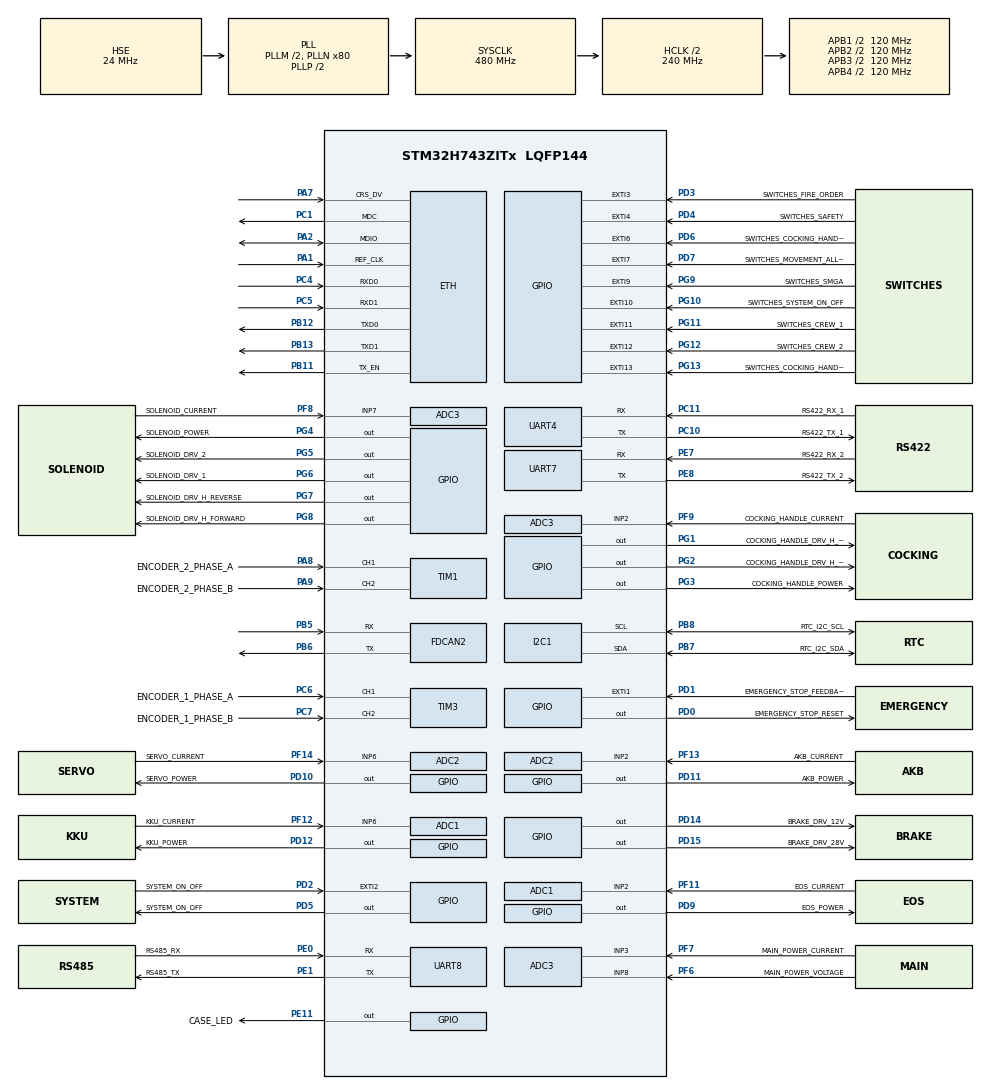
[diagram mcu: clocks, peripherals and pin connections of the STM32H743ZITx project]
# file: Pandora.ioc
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ADC1.Channel-7\#ChannelRegularConversion=ADC_CHANNEL_2
ADC1.ClockPrescaler=ADC_CLOCK_ASYNC_DIV1
ADC1.ContinuousConvMode=ENABLE
ADC1.NbrOfConversionFlag=1
ADC1.OffsetNumber-7\#ChannelRegularConversion=ADC_OFFSET_NONE
ADC1.OffsetSignedSaturation-7\#ChannelRegularConversion=DISABLE
ADC1.Rank-7\#ChannelRegularConversion=1
ADC1.SamplingTime-7\#ChannelRegularConversion=ADC_SAMPLETIME_1CYCLE_5
ADC1.master=1
ADC2.Channel-0\#ChannelRegularConversion=ADC_CHANNEL_2
ADC2.ContinuousConvMode=ENABLE
ADC2.NbrOfConversionFlag=1
ADC2.OffsetNumber-0\#ChannelRegularConversion=ADC_OFFSET_NONE
ADC2.OffsetSignedSaturation-0\#ChannelRegularConversion=DISABLE
ADC2.Rank-0\#ChannelRegularConversion=1
ADC2.SamplingTime-0\#ChannelRegularConversion=ADC_SAMPLETIME_1CYCLE_5
ADC3.Channel-1\#ChannelRegularConversion=ADC_CHANNEL_8
ADC3.ClockPrescaler=ADC_CLOCK_ASYNC_DIV1
ADC3.ContinuousConvMode=ENABLE
ADC3.NbrOfConversionFlag=1
ADC3.OffsetNumber-1\#ChannelRegularConversion=ADC_OFFSET_NONE
ADC3.OffsetSignedSaturation-1\#ChannelRegularConversion=DISABLE
ADC3.Rank-1\#ChannelRegularConversion=1
ADC3.SamplingTime-1\#ChannelRegularConversion=ADC_SAMPLETIME_1CYCLE_5
Bdma.ADC3.0.Direction=DMA_PERIPH_TO_MEMORY
Bdma.ADC3.0.EventEnable=DISABLE
Bdma.ADC3.0.Instance=BDMA_Channel0
Bdma.ADC3.0.MemDataAlignment=DMA_MDATAALIGN_HALFWORD
Bdma.ADC3.0.MemInc=DMA_MINC_ENABLE
Bdma.ADC3.0.Mode=DMA_CIRCULAR
Bdma.ADC3.0.PeriphDataAlignment=DMA_PDATAALIGN_HALFWORD
Bdma.ADC3.0.PeriphInc=DMA_PINC_DISABLE
Bdma.ADC3.0.Polarity=HAL_DMAMUX_REQ_GEN_RISING
Bdma.ADC3.0.Priority=DMA_PRIORITY_LOW
Bdma.ADC3.0.RequestNumber=1
Bdma.ADC3.0.SignalID=NONE
Bdma.ADC3.0.SyncEnable=DISABLE
Bdma.ADC3.0.SyncPolarity=HAL_DMAMUX_SYNC_NO_EVENT
Bdma.ADC3.0.SyncRequestNumber=1
Bdma.ADC3.0.SyncSignalID=NONE
Bdma.Request0=ADC3
Bdma.RequestsNb=1
Dma.ADC1.0.Direction=DMA_PERIPH_TO_MEMORY
Dma.ADC1.0.EventEnable=DISABLE
Dma.ADC1.0.FIFOMode=DMA_FIFOMODE_DISABLE
Dma.ADC1.0.Instance=DMA1_Stream0
Dma.ADC1.0.MemDataAlignment=DMA_MDATAALIGN_HALFWORD
Dma.ADC1.0.MemInc=DMA_MINC_ENABLE
Dma.ADC1.0.Mode=DMA_CIRCULAR
Dma.ADC1.0.PeriphDataAlignment=DMA_PDATAALIGN_HALFWORD
Dma.ADC1.0.PeriphInc=DMA_PINC_DISABLE
Dma.ADC1.0.Polarity=HAL_DMAMUX_REQ_GEN_RISING
Dma.ADC1.0.Priority=DMA_PRIORITY_LOW
Dma.ADC1.0.RequestNumber=1
Dma.ADC1.0.SignalID=NONE
Dma.ADC1.0.SyncEnable=DISABLE
Dma.ADC1.0.SyncPolarity=HAL_DMAMUX_SYNC_NO_EVENT
Dma.ADC1.0.SyncRequestNumber=1
Dma.ADC1.0.SyncSignalID=NONE
Dma.ADC2.1.Direction=DMA_PERIPH_TO_MEMORY
Dma.ADC2.1.EventEnable=DISABLE
Dma.ADC2.1.FIFOMode=DMA_FIFOMODE_DISABLE
Dma.ADC2.1.Instance=DMA1_Stream1
Dma.ADC2.1.MemDataAlignment=DMA_MDATAALIGN_HALFWORD
Dma.ADC2.1.MemInc=DMA_MINC_ENABLE
Dma.ADC2.1.Mode=DMA_CIRCULAR
Dma.ADC2.1.PeriphDataAlignment=DMA_PDATAALIGN_HALFWORD
Dma.ADC2.1.PeriphInc=DMA_PINC_DISABLE
Dma.ADC2.1.Polarity=HAL_DMAMUX_REQ_GEN_RISING
Dma.ADC2.1.Priority=DMA_PRIORITY_LOW
Dma.ADC2.1.RequestNumber=1
Dma.ADC2.1.SignalID=NONE
Dma.ADC2.1.SyncEnable=DISABLE
Dma.ADC2.1.SyncPolarity=HAL_DMAMUX_SYNC_NO_EVENT
Dma.ADC2.1.SyncRequestNumber=1
Dma.ADC2.1.SyncSignalID=NONE
Dma.Request0=ADC1
Dma.Request1=ADC2
ETH.MediaInterface=HAL_ETH_RMII_MODE
FDCAN2.CalculateBaudRateNominal=1499999
FDCAN2.CalculateTimeBitNominal=666
FDCAN2.CalculateTimeQuantumNominal=133.33333333333334
I2C1.Timing=0x307075B1
Mcu.Family=STM32H7
Mcu.Name=STM32H743ZITx
Mcu.Package=LQFP144
NVIC.BDMA_Channel0_IRQn=true\:0\:0\:false\:false\:true\:false\:true\:true
NVIC.DMA1_Stream0_IRQn=true\:0\:0\:false\:false\:true\:false\:true\:true
NVIC.DMA1_Stream1_IRQn=true\:0\:0\:false\:false\:true\:false\:true\:true
NVIC.PriorityGroup=NVIC_PRIORITYGROUP_4
NVIC.TIM2_IRQn=true\:0\:0\:false\:false\:true\:true\:true\:true
NVIC.TIM3_IRQn=true\:0\:0\:false\:false\:true\:true\:true\:true
NVIC.TIM4_IRQn=true\:0\:0\:false\:false\:true\:true\:true\:true
PA1.Mode=RMII
PA1.Signal=ETH_REF_CLK
PA2.Mode=RMII
PA2.Signal=ETH_MDIO
PA7.Mode=RMII
PA7.Signal=ETH_CRS_DV
PA8.GPIO_Label=ENCODER_2_PHASE_A
PA8.Signal=S_TIM1_CH1
PA9.GPIO_Label=ENCODER_2_PHASE_B
PA9.Signal=S_TIM1_CH2
PB11.Mode=RMII
PB11.Signal=ETH_TX_EN
PB12.Mode=RMII
PB12.Signal=ETH_TXD0
PB13.Mode=RMII
PB13.Signal=ETH_TXD1
PB5.Mode=FDCAN_Activate
PB5.Signal=FDCAN2_RX
PB6.Mode=FDCAN_Activate
PB6.Signal=FDCAN2_TX
PB7.GPIO_Label=RTC_I2C_SDA
PB7.Mode=I2C
PB7.Signal=I2C1_SDA
PB8.GPIO_Label=RTC_I2C_SCL
PB8.Mode=I2C
PB8.Signal=I2C1_SCL
PC1.Mode=RMII
PC1.Signal=ETH_MDC
PC10.GPIO_Label=RS422_TX_1
PC10.Mode=Asynchronous
PC10.Signal=UART4_TX
PC11.GPIO_Label=RS422_RX_1
PC11.Mode=Asynchronous
PC11.Signal=UART4_RX
PC4.Mode=RMII
PC4.Signal=ETH_RXD0
PC5.Mode=RMII
PC5.Signal=ETH_RXD1
PC6.GPIO_Label=ENCODER_1_PHASE_A
PC6.Signal=S_TIM3_CH1
PC7.GPIO_Label=ENCODER_1_PHASE_B
PC7.Signal=S_TIM3_CH2
PD0.GPIO_Label=EMERGENCY_STOP_RESET
PD0.Signal=GPIO_Output
PD1.GPIO_Label=EMERGENCY_STOP_FEEDBACK
PD1.Signal=GPXTI1
PD10.GPIO_Label=SERVO_POWER
PD10.Signal=GPIO_Output
PD11.GPIO_Label=AKB_POWER
PD11.Signal=GPIO_Output
PD12.GPIO_Label=KKU_POWER
PD12.Signal=GPIO_Output
PD14.GPIO_Label=BRAKE_DRV_12V
PD14.Signal=GPIO_Output
PD15.GPIO_Label=BRAKE_DRV_28V
PD15.Signal=GPIO_Output
PD2.GPIO_Label=SYSTEM_ON_OFF
PD2.Signal=GPXTI2
PD3.GPIO_Label=SWITCHES_FIRE_ORDER
PD3.Signal=GPXTI3
PD4.GPIO_Label=SWITCHES_SAFETY
PD4.Signal=GPXTI4
PD5.GPIO_Label=SYSTEM_ON_OFF
PD5.Signal=GPIO_Output
PD6.GPIO_Label=SWITCHES_COCKING_HANDLE_ORDER
PD6.Signal=GPXTI6
PD7.GPIO_Label=SWITCHES_MOVEMENT_ALLOWED
PD7.Signal=GPXTI7
PD9.GPIO_Label=EOS_POWER
PD9.Signal=GPIO_Output
PE0.GPIO_Label=RS485_RX
PE0.Mode=Asynchronous
PE0.Signal=UART8_RX
PE1.GPIO_Label=RS485_TX
PE1.Mode=Asynchronous
PE1.Signal=UART8_TX
PE11.GPIO_Label=CASE_LED
PE11.Signal=GPIO_Output
PE7.GPIO_Label=RS422_RX_2
PE7.Mode=Asynchronous
PE7.Signal=UART7_RX
PE8.GPIO_Label=RS422_TX_2
PE8.Mode=Asynchronous
PE8.Signal=UART7_TX
PF11.GPIO_Label=EOS_CURRENT
PF11.Mode=IN2-Single-Ended
PF11.Signal=ADC1_INP2
PF12.GPIO_Label=KKU_CURRENT
PF12.Mode=IN6-Single-Ended
PF12.Signal=ADC1_INP6
PF13.GPIO_Label=AKB_CURRENT
PF13.Mode=IN2-Single-Ended
PF13.Signal=ADC2_INP2
PF14.GPIO_Label=SERVO_CURRENT
PF14.Mode=IN6-Single-Ended
PF14.Signal=ADC2_INP6
PF6.GPIO_Label=MAIN_POWER_VOLTAGE
PF6.Mode=IN8-Single-Ended
PF6.Signal=ADC3_INP8
PF7.GPIO_Label=MAIN_POWER_CURRENT
PF7.Mode=IN3-Single-Ended
PF7.Signal=ADC3_INP3
PF8.GPIO_Label=SOLENOID_CURRENT
PF8.Mode=IN7-Single-Ended
PF8.Signal=ADC3_INP7
PF9.GPIO_Label=COCKING_HANDLE_CURRENT
PF9.Mode=IN2-Single-Ended
PF9.Signal=ADC3_INP2
PG1.GPIO_Label=COCKING_HANDLE_DRV_H_BACKWARD
PG1.Signal=GPIO_Output
PG10.GPIO_Label=SWITCHES_SYSTEM_ON_OFF
PG10.Signal=GPXTI10
PG11.GPIO_Label=SWITCHES_CREW_1
PG11.Signal=GPXTI11
PG12.GPIO_Label=SWITCHES_CREW_2
PG12.Signal=GPXTI12
PG13.GPIO_Label=SWITCHES_COCKING_HANDLE_HOME
PG13.Signal=GPXTI13
PG2.GPIO_Label=COCKING_HANDLE_DRV_H_FORWARD
PG2.Signal=GPIO_Output
PG3.GPIO_Label=COCKING_HANDLE_POWER
PG3.Signal=GPIO_Output
PG4.GPIO_Label=SOLENOID_POWER
PG4.Signal=GPIO_Output
PG5.GPIO_Label=SOLENOID_DRV_2
PG5.Signal=GPIO_Output
PG6.GPIO_Label=SOLENOID_DRV_1
PG6.Signal=GPIO_Output
PG7.GPIO_Label=SOLENOID_DRV_H_REVERSE
PG7.Signal=GPIO_Output
PG8.GPIO_Label=SOLENOID_DRV_H_FORWARD
PG8.Signal=GPIO_Output
PG9.GPIO_Label=SWITCHES_SMGA
PG9.Signal=GPXTI9
PH0-OSC_IN\ (PH0).Mode=HSE-External-Oscillator
PH0-OSC_IN\ (PH0).Signal=RCC_OSC_IN
PH1-OSC_OUT\ (PH1).Mode=HSE-External-Oscillator
PH1-OSC_OUT\ (PH1).Signal=RCC_OSC_OUT
ProjectManager.HeapSize=0x200
ProjectManager.StackSize=0x400
ProjectManager.TargetToolchain=STM32CubeIDE
RCC.ADCFreq_Value=75000000
RCC.APB1Freq_Value=120000000
RCC.APB2Freq_Value=120000000
RCC.APB3Freq_Value=120000000
RCC.APB4Freq_Value=120000000
RCC.CortexFreq_Value=480000000
RCC.D1PPRE=RCC_APB3_DIV2
RCC.D2PPRE1=RCC_APB1_DIV2
RCC.D2PPRE2=RCC_APB2_DIV2
RCC.D3PPRE=RCC_APB4_DIV2
RCC.DIVM1=2
RCC.DIVM2=2
RCC.DIVN1=80
RCC.DIVN2=12
RCC.DIVQ1=8
RCC.HCLKFreq_Value=240000000
RCC.HPRE=RCC_HCLK_DIV2
RCC.HSE_VALUE=24000000
RCC.PLL2FRACN=4096
RCC.PLL3FRACN=0
RCC.PLLFRACN=0
RCC.PLLSourceVirtual=RCC_PLLSOURCE_HSE
RCC.SYSCLKFreq_VALUE=480000000
RCC.SYSCLKSource=RCC_SYSCLKSOURCE_PLLCLK
RCC.USBFreq_Value=120000000
SH.S_TIM1_CH1.0=TIM1_CH1,Encoder_Interface
SH.S_TIM1_CH2.0=TIM1_CH2,Encoder_Interface
SH.S_TIM3_CH1.0=TIM3_CH1,Encoder_Interface
SH.S_TIM3_CH2.0=TIM3_CH2,Encoder_Interface
TIM2.Period=999
TIM2.Prescaler=239
TIM3.IC1Filter=0
TIM4.Period=999
TIM4.Prescaler=239
VP_TIM2_VS_ClockSourceINT.Mode=Internal
VP_TIM4_VS_ClockSourceINT.Mode=Internal
board=custom

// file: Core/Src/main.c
/* USER CODE BEGIN Header */
/**
  ******************************************************************************
  * @file           : main.c
  * @brief          : Main program body
  ******************************************************************************
  * @attention
  *
  * Copyright (c) 2024 STMicroelectronics.
  * All rights reserved.
  *
  * This software is licensed under terms that can be found in the LICENSE file
  * in the root directory of this software component.
  * If no LICENSE file comes with this software, it is provided AS-IS.
  *
  ******************************************************************************
  */
/* USER CODE END Header */
#include "main.h"
#include "adc.h"
#include "bdma.h"
#include "dma.h"
#include "eth.h"
#include "fdcan.h"
#include "i2c.h"
#include "tim.h"
#include "usart.h"
#include "gpio.h"

/* USER CODE BEGIN Includes */
#include "definitions.h"
#include "timing.h"
#include "peripherals.h"
#include "can_messages.h"
#include "cocking_handle_maingun.h"
#include "gun_control.h"
#include "error.h"
#include "flash.h"
#include "power_management.h"
/* USER CODE END Includes */

/* USER CODE BEGIN PTD */
pandoraStructer pandora;
/* USER CODE END PTD */

void SystemClock_Config(void);
void PeriphCommonClock_Config(void);

int main(void)
{
  /* USER CODE BEGIN 1 */
	/* #DUZENLENECEK
	 SILAH_SURELERI();
	 SON_MERMI_GRUBU_ANAHTARI_KONTROL();
	 FREN_AKIMI_KONTROL();

	 */

  /* USER CODE END 1 */

  /* MCU Configuration--------------------------------------------------------*/

  /* Reset of all peripherals, Initializes the Flash interface and the Systick. */
  HAL_Init();

  /* Configure the system clock */
  SystemClock_Config();

/* Configure the peripherals common clocks */
  PeriphCommonClock_Config();

  /* Initialize all configured peripherals */
  MX_GPIO_Init();
  MX_DMA_Init();
  MX_BDMA_Init();
  MX_TIM1_Init();
  MX_ADC2_Init();
  MX_ADC3_Init();
  MX_ETH_Init();
  MX_FDCAN2_Init();
  MX_I2C1_Init();
  MX_UART4_Init();
  MX_UART7_Init();
  MX_ADC1_Init();
  MX_UART8_Init();
  MX_TIM3_Init();
  MX_TIM2_Init();
  MX_TIM4_Init();
  /* USER CODE BEGIN 2 */
  HAL_TIM_Base_Start_IT(&htim2);
  HAL_TIM_Base_Start_IT(&htim4);

  HAL_ADC_Start_DMA(&hadc1, pandora.analogDigitalConverter.hadc1Buffer, 1);
  HAL_ADC_Start_DMA(&hadc2, pandora.analogDigitalConverter.hadc2Buffer, 1);
  HAL_ADC_Start_DMA(&hadc3, pandora.analogDigitalConverter.hadc3Buffer, 1);

  HAL_TIM_Encoder_Start(&htim3, TIM_CHANNEL_ALL);
  __HAL_TIM_SET_COUNTER(&htim3,0);
  /*
   * 	BEGIN
   */
  //functionLoadFromFlash();														//kayıtlı verileri flashtan al

  /*
   * 	SYSTEM CHECK
   */
//  pandora.error.AKBOK 		= FEEDBACK_READ(AKB_LOOP);
//  pandora.error.EOSOK 		= FEEDBACK_READ(EOS_LOOP);
//  pandora.error.GDBOK 		= FEEDBACK_READ(GDB_LOOP);
//  pandora.error.HERCULEOK 	= FEEDBACK_READ(HERCULE_LOOP);
//  pandora.error.KKUOK		= FEEDBACK_READ(KKU_LOOP);
//
//
//
//  pandora.error.isPluggedAKB 	 = (pandora.powerManagement.actualAKBOK 	|| pandora.configurations.overrideAKBOK); // takılı olmadan da çalışabilmesi için override'a bak
//  pandora.error.isPluggedEOS	 = (pandora.powerManagement.actualEOSOK 	|| pandora.configurations.overrideEOSOK);
//  pandora.error.isPluggedHERCULE = (pandora.powerManagement.actualHERCULEOK || pandora.configurations.overrideHERCULEOK);
//  pandora.error.isPluggedKKU	 = (pandora.powerManagement.actualKKUOK	    || pandora.configurations.overrideKKUOK);

  pandora.error.system 			 =!(pandora.error.AKBOK &&
										pandora.error.EOSOK &&
											pandora.error.GDBOK &&
												pandora.error.HERCULEOK &&
													pandora.error.KKUOK);

  /////////////////////////////////////////////////////////////////////////////////////////////////////////////////

  /*
   * 	SWITCHES CHECK
   */

  pandora.states.firePermission = !pandora.switches.switches_smga;

  /////////////////////////////////////////////////////////////////////////////////////////////////////////////////

  /*
   * 	SYSTEM CHECK
   */
  /////////////////////////////////////////////////////////////////////////////////////////////////////////////////

  /*
   * 	SYSTEM CHECK
   */
  /////////////////////////////////////////////////////////////////////////////////////////////////////////////////

  /*
   * 	SYSTEM CHECK
   */
  /////////////////////////////////////////////////////////////////////////////////////////////////////////////////

  /*
   * 	SYSTEM CHECK
   */
  /////////////////////////////////////////////////////////////////////////////////////////////////////////////////

  /*
   * 	SYSTEM CHECK
   */
  /////////////////////////////////////////////////////////////////////////////////////////////////////////////////
  functionGunControlInit();
  /*
   * 	END
   */
  /* USER CODE END 2 */

  /* Infinite loop */
  while (1)
  {

    /* USER CODE BEGIN 3 */
	  startTimeScanFlags();

	  functionReadFilteredDigitalInputs();

	  if(_100msFlag)
	  {
		  //huzeyfepiroglu
		  functionMeasureVoltage();
		  functionMeasureCurrent();

		  functionErrorCurrentVoltageCheck();
		  functionErrorMosfetCheck();
	  }

	  if(!pandora.error.system 						&&
		 pandora.gun.cockingHandle.armed 			&&
	  	 pandora.switches.switches_movement_allowed &&
		 pandora.switches.switches_safety 			&&
		 (!pandora.switches.switches_smga || pandora.canMessages.AKB.commandSmgaOveride) &&
		 pandora.switches.switches_fire_order 		&&
		 !pandora.canMessages.AKB.commandEmergencyStop 				&&
		 (!pandora.canMessages.AKB.commandFireBlockedArea || pandora.canMessages.AKB.commandFireBlockedAreaOveride))
	  {
		  pandora.states.firePermission = true;
	  }
	  else
	  {
		  pandora.states.firePermission = false;
	  }

	  /* COCKING HANDLE LOOP BEGIN */
	  if(pandora.gun.cockingHandle.motorState != IDLE)
	  {
		  functionEncoderRead(&htim3);
	  }

	  if(pandora.switches.switches_cocking_handle_order && pandora.switches.switches_safety && !pandora.gun.cockingHandle.armed)
	  {
		  functionCockingHandleGoArm();
	  }

	  else if (!pandora.switches.switches_safety && !pandora.gun.cockingHandle.safe)
	  {
		  functionCockingHandleGoSafe();
	  }
	  /* COCKING HANDLE LOOP END */

	  /* SOLENOID LOOP BEGIN */
	  functionGunControlProcess(HAL_GetTick());

	  if((pandora.switches.switches_fire_order ||  pandora.canMessages.AKB.commandGunFireOveride)		&&   // ama bence tehlikeli
		 pandora.switches.switches_safety 			&&
		 pandora.switches.switches_movement_allowed &&
		(!pandora.switches.switches_smga || pandora.states.overrideSmga)) // atış emniyet anahtarı ve hareket anahtarı
	  {
		  functionGunControlTriggerPressed();
	  }
	  else
	  {
		  functionGunControlTriggerReleased();
	  }
	  /* SOLENOID LOOP END */

	  clearTimeScanFlags();
  }
  /* USER CODE END 3 */
}

void SystemClock_Config(void)
{
  RCC_OscInitTypeDef RCC_OscInitStruct = {0};
  RCC_ClkInitTypeDef RCC_ClkInitStruct = {0};

  /** Supply configuration update enable
  */
  HAL_PWREx_ConfigSupply(PWR_LDO_SUPPLY);

  /** Configure the main internal regulator output voltage
  */
  __HAL_PWR_VOLTAGESCALING_CONFIG(PWR_REGULATOR_VOLTAGE_SCALE1);

  while(!__HAL_PWR_GET_FLAG(PWR_FLAG_VOSRDY)) {}

  __HAL_RCC_SYSCFG_CLK_ENABLE();
  __HAL_PWR_VOLTAGESCALING_CONFIG(PWR_REGULATOR_VOLTAGE_SCALE0);

  while(!__HAL_PWR_GET_FLAG(PWR_FLAG_VOSRDY)) {}

  /** Initializes the RCC Oscillators according to the specified parameters
  * in the RCC_OscInitTypeDef structure.
  */
  RCC_OscInitStruct.OscillatorType = RCC_OSCILLATORTYPE_HSE;
  RCC_OscInitStruct.HSEState = RCC_HSE_ON;
  RCC_OscInitStruct.PLL.PLLState = RCC_PLL_ON;
  RCC_OscInitStruct.PLL.PLLSource = RCC_PLLSOURCE_HSE;
  RCC_OscInitStruct.PLL.PLLM = 2;
  RCC_OscInitStruct.PLL.PLLN = 80;
  RCC_OscInitStruct.PLL.PLLP = 2;
  RCC_OscInitStruct.PLL.PLLQ = 8;
  RCC_OscInitStruct.PLL.PLLR = 2;
  RCC_OscInitStruct.PLL.PLLRGE = RCC_PLL1VCIRANGE_3;
  RCC_OscInitStruct.PLL.PLLVCOSEL = RCC_PLL1VCOWIDE;
  RCC_OscInitStruct.PLL.PLLFRACN = 0;
  if (HAL_RCC_OscConfig(&RCC_OscInitStruct) != HAL_OK)
  {
    Error_Handler();
  }

  /** Initializes the CPU, AHB and APB buses clocks
  */
  RCC_ClkInitStruct.ClockType = RCC_CLOCKTYPE_HCLK|RCC_CLOCKTYPE_SYSCLK
                              |RCC_CLOCKTYPE_PCLK1|RCC_CLOCKTYPE_PCLK2
                              |RCC_CLOCKTYPE_D3PCLK1|RCC_CLOCKTYPE_D1PCLK1;
  RCC_ClkInitStruct.SYSCLKSource = RCC_SYSCLKSOURCE_PLLCLK;
  RCC_ClkInitStruct.SYSCLKDivider = RCC_SYSCLK_DIV1;
  RCC_ClkInitStruct.AHBCLKDivider = RCC_HCLK_DIV2;
  RCC_ClkInitStruct.APB3CLKDivider = RCC_APB3_DIV2;
  RCC_ClkInitStruct.APB1CLKDivider = RCC_APB1_DIV2;
  RCC_ClkInitStruct.APB2CLKDivider = RCC_APB2_DIV2;
  RCC_ClkInitStruct.APB4CLKDivider = RCC_APB4_DIV2;

  if (HAL_RCC_ClockConfig(&RCC_ClkInitStruct, FLASH_LATENCY_4) != HAL_OK)
  {
    Error_Handler();
  }
}

void PeriphCommonClock_Config(void)
{
  RCC_PeriphCLKInitTypeDef PeriphClkInitStruct = {0};

  /** Initializes the peripherals clock
  */
  PeriphClkInitStruct.PeriphClockSelection = RCC_PERIPHCLK_ADC;
  PeriphClkInitStruct.PLL2.PLL2M = 2;
  PeriphClkInitStruct.PLL2.PLL2N = 12;
  PeriphClkInitStruct.PLL2.PLL2P = 2;
  PeriphClkInitStruct.PLL2.PLL2Q = 2;
  PeriphClkInitStruct.PLL2.PLL2R = 2;
  PeriphClkInitStruct.PLL2.PLL2RGE = RCC_PLL2VCIRANGE_3;
  PeriphClkInitStruct.PLL2.PLL2VCOSEL = RCC_PLL2VCOMEDIUM;
  PeriphClkInitStruct.PLL2.PLL2FRACN = 4096;
  PeriphClkInitStruct.AdcClockSelection = RCC_ADCCLKSOURCE_PLL2;
  if (HAL_RCCEx_PeriphCLKConfig(&PeriphClkInitStruct) != HAL_OK)
  {
    Error_Handler();
  }
}

/* USER CODE BEGIN 4 */
void HAL_FDCAN_RxFifo0Callback(FDCAN_HandleTypeDef *hfdcan, uint32_t RxFifo0ITs)
{
    if ((RxFifo0ITs & FDCAN_IT_RX_FIFO0_NEW_MESSAGE) != RESET)
    {
    	FDCAN_ReceiveMessage(hfdcan);
    }
}

/* USER CODE END 4 */

void Error_Handler(void)
{
  __disable_irq();
  while (1)
  {
  }
}
